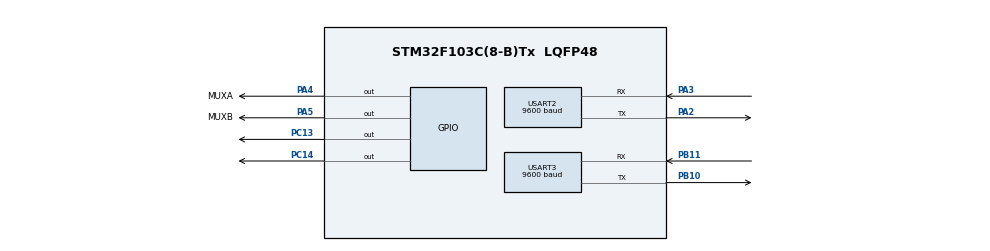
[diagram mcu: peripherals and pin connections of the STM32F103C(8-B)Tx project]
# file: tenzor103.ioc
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Mcu.Family=STM32F1
Mcu.Name=STM32F103C(8-B)Tx
Mcu.Package=LQFP48
NVIC.PriorityGroup=NVIC_PRIORITYGROUP_4
NVIC.USART3_IRQn=true\:0\:0\:false\:false\:true\:true\:true
PA13.Mode=Serial_Wire
PA13.Signal=SYS_JTMS-SWDIO
PA14.Mode=Serial_Wire
PA14.Signal=SYS_JTCK-SWCLK
PA2.Mode=Asynchronous
PA2.Signal=USART2_TX
PA3.Mode=Asynchronous
PA3.Signal=USART2_RX
PA4.GPIO_Label=MUXA
PA4.Signal=GPIO_Output
PA5.GPIO_Label=MUXB
PA5.Signal=GPIO_Output
PB10.Mode=Asynchronous
PB10.Signal=USART3_TX
PB11.Mode=Asynchronous
PB11.Signal=USART3_RX
PC13-TAMPER-RTC.Signal=GPIO_Output
PC14-OSC32_IN.Signal=GPIO_Output
ProjectManager.HeapSize=0x200
ProjectManager.StackSize=0x400
ProjectManager.TargetToolchain=STM32CubeIDE
RCC.APB1Freq_Value=8000000
RCC.APB2Freq_Value=8000000
RCC.PLLSourceVirtual=RCC_PLLSOURCE_HSI_DIV2
USART2.BaudRate=9600
USART2.Parity=PARITY_EVEN
USART2.VirtualMode=VM_ASYNC
USART2.WordLength=WORDLENGTH_9B
USART3.BaudRate=9600
USART3.Parity=PARITY_EVEN
USART3.VirtualMode=VM_ASYNC
USART3.WordLength=WORDLENGTH_9B
board=custom

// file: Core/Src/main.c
/* USER CODE BEGIN Header */
/**
  ******************************************************************************
  * @file           : main.c
  * @brief          : Main program body
  ******************************************************************************
  * @attention
  *
  * <h2><center>&copy; Copyright (c) 2019 STMicroelectronics.
  * All rights reserved.</center></h2>
  *
  * This software component is licensed by ST under BSD 3-Clause license,
  * the "License"; You may not use this file except in compliance with the
  * License. You may obtain a copy of the License at:
  *                        opensource.org/licenses/BSD-3-Clause
  *
  ******************************************************************************
  */
/* USER CODE END Header */

#include "main.h"

UART_HandleTypeDef huart2;
UART_HandleTypeDef huart3;

void SystemClock_Config(void);
static void MX_GPIO_Init(void);
static void MX_USART2_UART_Init(void);
static void MX_USART3_UART_Init(void);
uint16_t gen_crc16(const uint8_t *data, uint16_t size);
/* USER CODE BEGIN PFP */

uint8_t  ch;

uint8_t ch0_data[5];
uint8_t ch1_data[5];
uint8_t ch2_data[5];
uint8_t ch3_data[5];

void HAL_UART_RxCpltCallback(UART_HandleTypeDef *huart)
{

    if(huart->Instance == USART3){

    	if (ch == 0x02 || ch == '2') {
    		uint8_t ss_data[22];
    		memset(ss_data, 0, 22);

    		uint16_t sum;

    		memcpy(ss_data, ch0_data, 5);
    		memcpy(ss_data+5, ch1_data, 5);
    		memcpy(ss_data+10, ch2_data, 5);
    		memcpy(ss_data+15, ch3_data, 5);

    		sum = gen_crc16(ss_data, 20);

    		memcpy(ss_data+20, &sum, 2);

    		HAL_UART_Transmit(&huart3, ss_data, sizeof(ss_data), 10);
    	}

    HAL_UART_Receive_IT(&huart3, &ch, 1);

  }

}

/* USER CODE END PFP */

/* USER CODE BEGIN 0 */

#define CRC16 0x8005

uint16_t gen_crc16(const uint8_t *data, uint16_t size)
{
    uint16_t out = 0;
    int bits_read = 0, bit_flag;

    /* Sanity check: */
    if(data == NULL)
        return 0;

    while(size > 0)
    {
        bit_flag = out >> 15;

        /* Get next bit: */
        out <<= 1;
        out |= (*data >> bits_read) & 1; // item a) work from the least significant bits

        /* Increment bit counter: */
        bits_read++;
        if(bits_read > 7)
        {
            bits_read = 0;
            data++;
            size--;
        }

        /* Cycle check: */
        if(bit_flag)
            out ^= CRC16;

    }

    // item b) "push out" the last 16 bits
    int i;
    for (i = 0; i < 16; ++i) {
        bit_flag = out >> 15;
        out <<= 1;
        if(bit_flag)
            out ^= CRC16;
    }

    // item c) reverse the bits
    uint16_t crc = 0;
    i = 0x8000;
    int j = 0x0001;
    for (; i != 0; i >>=1, j <<= 1) {
        if (i & out) crc |= j;
    }

    return crc;
}

/* USER CODE END 0 */

int main(void)
{

  /* MCU Configuration--------------------------------------------------------*/

  /* Reset of all peripherals, Initializes the Flash interface and the Systick. */
  HAL_Init();

  /* Configure the system clock */
  SystemClock_Config();

  /* Initialize all configured peripherals */
  MX_GPIO_Init();
  MX_USART2_UART_Init();
  MX_USART3_UART_Init();
  /* USER CODE BEGIN 2 */

  HAL_UART_Receive_IT(&huart3, &ch, 1);

	  memset(ch0_data, 0, 5);
	  memset(ch1_data, 0, 5);
	  memset(ch2_data, 0, 5);
	  memset(ch3_data, 0, 5);
  /* USER CODE END 2 */

  /* Infinite loop */
  /* USER CODE BEGIN WHILE */
  while (1)
  {

	  uint8_t buffer2[1];
	  buffer2[0] = 0x02;
	  //HAL_UART_Receive_IT(&huart1, buffer1, sizeof(buffer1));

	  // 01
	  HAL_GPIO_WritePin(MUXA_GPIO_Port, MUXA_Pin, GPIO_PIN_RESET);
	  HAL_GPIO_WritePin(MUXB_GPIO_Port, MUXB_Pin, GPIO_PIN_RESET);
	  HAL_Delay(50);

	  HAL_UART_Transmit(&huart2, buffer2, sizeof(buffer2), 10);
	  memset(ch0_data, 0, 5);
	  HAL_UART_Receive(&huart2, ch0_data, sizeof(ch0_data), 10);

	  HAL_Delay(50);

	  // 02
	  HAL_GPIO_WritePin(MUXA_GPIO_Port, MUXB_Pin, GPIO_PIN_SET);
	  HAL_Delay(50);

	  HAL_UART_Transmit(&huart2, buffer2, sizeof(buffer2), 10);
	  //HAL_Delay(2);
	  memset(ch1_data, 0, 5);
	  HAL_UART_Receive(&huart2, ch1_data, sizeof(ch1_data), 10);

	  HAL_Delay(50);

	  // 03
	  HAL_GPIO_WritePin(MUXA_GPIO_Port, MUXB_Pin, GPIO_PIN_RESET);
	  HAL_GPIO_WritePin(MUXB_GPIO_Port, MUXA_Pin, GPIO_PIN_SET);
	  HAL_Delay(50);

	  HAL_UART_Transmit(&huart2, buffer2, sizeof(buffer2), 10);
	  //HAL_Delay(2);
	  memset(ch2_data, 0, 5);
	  HAL_UART_Receive(&huart2, ch2_data, sizeof(ch2_data), 10);

	  HAL_Delay(50);

	  // 04
	  HAL_GPIO_WritePin(MUXA_GPIO_Port, MUXB_Pin, GPIO_PIN_SET);
	  HAL_Delay(50);

	  HAL_UART_Transmit(&huart2, buffer2, sizeof(buffer2), 10);
	  memset(ch3_data, 0, 5);
	  HAL_UART_Receive(&huart2, ch3_data, sizeof(ch3_data), 10);

	  HAL_Delay(50);

	  HAL_GPIO_WritePin(GPIOC, GPIO_PIN_13, GPIO_PIN_RESET);

	  HAL_Delay(300);

	  HAL_GPIO_WritePin(GPIOC, GPIO_PIN_13, GPIO_PIN_SET);

	  HAL_Delay(300);/**/
    /* USER CODE END WHILE */

  }
}

void SystemClock_Config(void)
{
  RCC_OscInitTypeDef RCC_OscInitStruct = {0};
  RCC_ClkInitTypeDef RCC_ClkInitStruct = {0};

  /** Initializes the CPU, AHB and APB busses clocks
  */
  RCC_OscInitStruct.OscillatorType = RCC_OSCILLATORTYPE_HSI;
  RCC_OscInitStruct.HSIState = RCC_HSI_ON;
  RCC_OscInitStruct.HSICalibrationValue = RCC_HSICALIBRATION_DEFAULT;
  RCC_OscInitStruct.PLL.PLLState = RCC_PLL_NONE;
  if (HAL_RCC_OscConfig(&RCC_OscInitStruct) != HAL_OK)
  {
    Error_Handler();
  }
  /** Initializes the CPU, AHB and APB busses clocks
  */
  RCC_ClkInitStruct.ClockType = RCC_CLOCKTYPE_HCLK|RCC_CLOCKTYPE_SYSCLK
                              |RCC_CLOCKTYPE_PCLK1|RCC_CLOCKTYPE_PCLK2;
  RCC_ClkInitStruct.SYSCLKSource = RCC_SYSCLKSOURCE_HSI;
  RCC_ClkInitStruct.AHBCLKDivider = RCC_SYSCLK_DIV1;
  RCC_ClkInitStruct.APB1CLKDivider = RCC_HCLK_DIV1;
  RCC_ClkInitStruct.APB2CLKDivider = RCC_HCLK_DIV1;

  if (HAL_RCC_ClockConfig(&RCC_ClkInitStruct, FLASH_LATENCY_0) != HAL_OK)
  {
    Error_Handler();
  }
}

static void MX_USART2_UART_Init(void)
{

  huart2.Instance = USART2;
  huart2.Init.BaudRate = 9600;
  huart2.Init.WordLength = UART_WORDLENGTH_9B;
  huart2.Init.StopBits = UART_STOPBITS_1;
  huart2.Init.Parity = UART_PARITY_EVEN;
  huart2.Init.Mode = UART_MODE_TX_RX;
  huart2.Init.HwFlowCtl = UART_HWCONTROL_NONE;
  huart2.Init.OverSampling = UART_OVERSAMPLING_16;
  if (HAL_UART_Init(&huart2) != HAL_OK)
  {
    Error_Handler();
  }

}

static void MX_USART3_UART_Init(void)
{

  huart3.Instance = USART3;
  huart3.Init.BaudRate = 9600;
  huart3.Init.WordLength = UART_WORDLENGTH_9B;
  huart3.Init.StopBits = UART_STOPBITS_1;
  huart3.Init.Parity = UART_PARITY_EVEN;
  huart3.Init.Mode = UART_MODE_TX_RX;
  huart3.Init.HwFlowCtl = UART_HWCONTROL_NONE;
  huart3.Init.OverSampling = UART_OVERSAMPLING_16;
  if (HAL_UART_Init(&huart3) != HAL_OK)
  {
    Error_Handler();
  }

}

static void MX_GPIO_Init(void)
{
  GPIO_InitTypeDef GPIO_InitStruct = {0};

  /* GPIO Ports Clock Enable */
  __HAL_RCC_GPIOC_CLK_ENABLE();
  __HAL_RCC_GPIOA_CLK_ENABLE();
  __HAL_RCC_GPIOB_CLK_ENABLE();

  /*Configure GPIO pin Output Level */
  HAL_GPIO_WritePin(GPIOC, GPIO_PIN_13|GPIO_PIN_14, GPIO_PIN_RESET);

  /*Configure GPIO pin Output Level */
  HAL_GPIO_WritePin(GPIOA, MUXA_Pin|MUXB_Pin, GPIO_PIN_RESET);

  /*Configure GPIO pins : PC13 PC14 */
  GPIO_InitStruct.Pin = GPIO_PIN_13|GPIO_PIN_14;
  GPIO_InitStruct.Mode = GPIO_MODE_OUTPUT_PP;
  GPIO_InitStruct.Pull = GPIO_NOPULL;
  GPIO_InitStruct.Speed = GPIO_SPEED_FREQ_LOW;
  HAL_GPIO_Init(GPIOC, &GPIO_InitStruct);

  /*Configure GPIO pins : MUXA_Pin MUXB_Pin */
  GPIO_InitStruct.Pin = MUXA_Pin|MUXB_Pin;
  GPIO_InitStruct.Mode = GPIO_MODE_OUTPUT_PP;
  GPIO_InitStruct.Pull = GPIO_NOPULL;
  GPIO_InitStruct.Speed = GPIO_SPEED_FREQ_LOW;
  HAL_GPIO_Init(GPIOA, &GPIO_InitStruct);

}

void Error_Handler(void)
{
}

/************************ (C) COPYRIGHT STMicroelectronics *****END OF FILE****/
